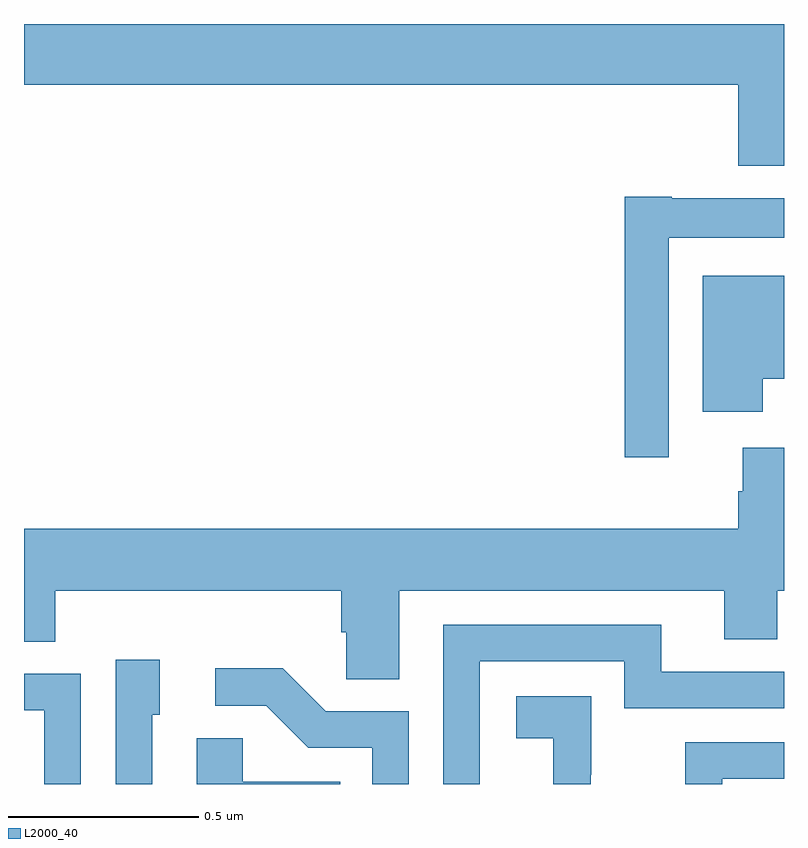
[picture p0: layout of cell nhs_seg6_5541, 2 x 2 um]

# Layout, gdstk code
import gdstk
lib = gdstk.Library(unit=1e-6, precision=1e-09)
def P(c, l, *ps):  # polygons
    for p in ps: c.add(gdstk.Polygon(p, *l))
L2000_40 = (2000, 40)

nhs_seg6_5541 = lib.new_cell('nhs_seg6_5541')
P(nhs_seg6_5541, L2000_40, [(186,943.5),(184,943.5),(184,943.34),(185.879,943.34),(185.879,943.127),(186,943.127)],
  [(185.697,942.938),(186,942.938),(186,943.042),(185.704,943.042),(185.704,943.045),(185.581,943.045),(185.581,942.36),(185.697,942.36)],
  [(185.944,942.566),(186,942.566),(186,942.838),(185.786,942.838),(185.786,942.48),(185.944,942.48)],
  [(184.987,942.008),(185.843,942.008),(185.843,941.881),(185.982,941.881),(185.982,942.008),(186,942.008),(186,942.385),(185.891,942.385),(185.891,942.27),(185.879,942.27),(185.879,942.172),(184,942.172),(184,941.875),(184.082,941.875),(184.082,942.008),(184.835,942.008),(184.835,941.899),(184.848,941.899),(184.848,941.776),(184.987,941.776)],
  [(185.199,941.823),(185.58,941.823),(185.58,941.7),(186,941.7),(186,941.796),(185.677,941.796),(185.677,941.919),(185.103,941.919),(185.103,941.5),(185.199,941.5)],
  [(184.338,941.682),(184.357,941.682),(184.357,941.827),(184.242,941.827),(184.242,941.5),(184.338,941.5)],
  [(185.013,941.691),(184.794,941.691),(184.681,941.804),(184.503,941.804),(184.503,941.706),(184.637,941.706),(184.748,941.595),(184.917,941.595),(184.917,941.5),(185.013,941.5)],
  [(184.149,941.79),(184,941.79),(184,941.694),(184.053,941.694),(184.053,941.5),(184.149,941.5)],
  [(185.492,941.525),(185.493,941.525),(185.493,941.731),(185.295,941.731),(185.295,941.621),(185.393,941.621),(185.393,941.5),(185.492,941.5)],
  [(184.832,941.506),(184.575,941.506),(184.575,941.621),(184.454,941.621),(184.454,941.5),(184.832,941.5)],
  [(185.838,941.514),(186,941.514),(186,941.61),(185.74,941.61),(185.74,941.5),(185.838,941.5)])

lib.write_gds('nhs_seg6_5541.gds')
